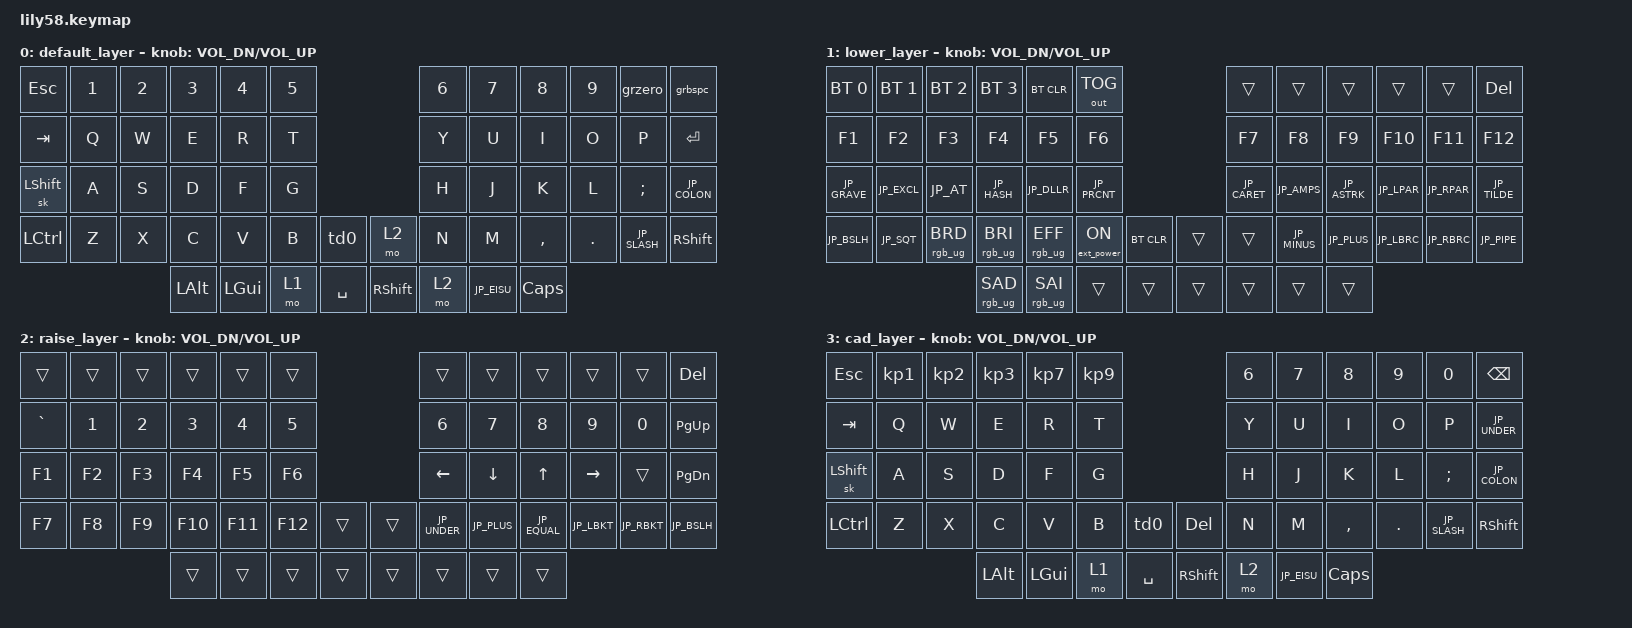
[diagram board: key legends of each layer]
/*
 * Copyright (c) 2020 The ZMK Contributors
 *
 * SPDX-License-Identifier: MIT
 */

#include <dt-bindings/led/led.h>

#include <behaviors.dtsi>
#include <dt-bindings/zmk/bt.h>
#include <dt-bindings/zmk/ext_power.h>
#include <dt-bindings/zmk/keys.h>
#include <dt-bindings/zmk/outputs.h>
#include <dt-bindings/zmk/rgb.h>

#include <dt-bindings/zmk/mouse.h>

#define DEFAULT 0
#define SYMBOL  1
#define NUM     2
#define MOUSE   3
#define NAV     4

#ifdef HAS_MOUSE_KEYS
  #include <dt-bindings/zmk/mouse.h>
  #include <behaviors/mouse_keys.dtsi>
#endif  // HAS_MOUSE_KEYS

#ifdef HAS_MOUSE_TP
  // We store the trackpoint settings in a separate file
  // to make organization a little easier.
  #include "include/mouse_tp.dtsi"
#endif  // HAS_MOUSE_TP

#ifdef HAS_MOUSE_KEYS
  #define U_THUMB_INNER &mo MOUSE_KEYS
#else
  #define U_THUMB_INNER &none
#endif  // HAS_MOUSE_KEYS

#ifdef HAS_MOUSE_TP
  #define U_TOG_TP_SET &tog MOUSE_TP_SET
#else
  #define U_TOG_TP_SET &none
#endif  // HAS_MOUSE_TP

#define HOST_OS 2
#include "keycode_japanese.h"

&led_strip { chain-length = <35>; };

/ {
    behaviors {
        td0: tap_dance_0 {
            compatible = "zmk,behavior-tap-dance";
            #binding-cells = <0>;
            tapping-term-ms = <200>;
            bindings = <&to 0>, <&to 3>;
        };

        grzero: grave_zero {
            compatible = "zmk,behavior-mod-morph";
            #binding-cells = <0>;
            bindings = <&kp N0>, <&kp JP_MINUS>;
            mods = <(MOD_LSFT|MOD_RSFT)>;
        };

        grbspc: grave_backspace {
            compatible = "zmk,behavior-mod-morph";
            #binding-cells = <0>;
            bindings = <&kp BSPC>, <&kp DEL>;
            mods = <(MOD_LSFT|MOD_RSFT)>;
        };
    };
    
    keymap {
        compatible = "zmk,keymap";

        default_layer {
            // ------------------------------------------------------------------------------------------------------------
            // |  ESC  |  1  |  2  |  3   |  4     |  5    |                   |  6   |  7     |  8    |  9   |   0   |   `   |
            // |  TAB  |  Q  |  W  |  E   |  R     |  T    |                   |  Y   |  U     |  I    |  O   |   P   |   -   |
            // |  CTRL |  A  |  S  |  D   |  F     |  G    |                   |  H   |  J     |  K    |  L   |   ;   |   :   |
            // | SHIFT |  Z  |  X  |  C   |  V     |  B    | "CAPS" |  |  DEL  |  N   |  M     |  ,    |  .   |   /   | SHIFT |
            //                     | ALT  |  GUI   | LOWER | SPACE  |  | ENTER | BSPC |  RAISE | CAPS  |

            bindings = <
&kp ESC    &kp N1  &kp N2  &kp N3    &kp N4    &kp N5                         &kp N6  &kp N7    &kp N8     &kp N9   &grzero       &grbspc
&kp TAB    &kp Q   &kp W   &kp E     &kp R     &kp T                          &kp Y   &kp U     &kp I      &kp O    &kp P         &kp RET
&sk LSHFT  &kp A   &kp S   &kp D     &kp F     &kp G                          &kp H   &kp J     &kp K      &kp L    &kp SEMI      &kp JP_COLON
&kp LCTRL  &kp Z   &kp X   &kp C     &kp V     &kp B   &td0         &mo 2     &kp N   &kp M     &kp COMMA  &kp DOT  &kp JP_SLASH  &kp RSHFT
                           &kp LALT  &kp LGUI  &mo 1   &kp SPACE    &kp RSHFT &mo 2   &kp JP_EISU  &kp CAPS
            >;

            // sensor-bindings = <&inc_dec_kp C_VOL_UP C_VOL_DN &inc_dec_kp C_VOL_UP C_VOL_DN>;

            sensor-bindings = <&inc_dec_kp C_VOL_DN C_VOL_UP>;
        };
        

        lower_layer {
            // ------------------------------------------------------------------------------------------------------------
            // | BTCLR | BT1 | BT2 |  BT3 |  BT4 |  TOG |                   |      |       |       |      |       |       |
            // |  F1   |  F2 |  F3 |  F4  |  F5  |  F6  |                   |  F7  |  F8   |  F9   |  F10 |  F11  |  F12  |
            // |   `   |  !  |  @  |  #   |  $   |  %   |                   |  ^   |  &    |  *    |  (   |   )   |   ~   |
            // |   \   |  '  |     |      |      |      |        |  |       |      |  -    |  +    |  {   |   }   |  "|"  |
            //                     |      |      |      |        |  |       |      |       |       |

            bindings = <
&bt BT_SEL 0  &bt BT_SEL 1     &bt BT_SEL 2     &bt BT_SEL 3     &bt BT_CLR     &out OUT_TOG                              &trans       &trans       &trans        &trans       &trans       &kp DEL
&kp F1        &kp F2           &kp F3           &kp F4           &kp F5         &kp F6                                    &kp F7       &kp F8       &kp F9        &kp F10      &kp F11      &kp F12
&kp JP_GRAVE  &kp JP_EXCL      &kp JP_AT        &kp JP_HASH      &kp JP_DLLR    &kp JP_PRCNT                                &kp JP_CARET &kp JP_AMPS  &kp JP_ASTRK  &kp JP_LPAR  &kp JP_RPAR  &kp JP_TILDE
&kp JP_BSLH   &kp JP_SQT       &rgb_ug RGB_BRD  &rgb_ug RGB_BRI  &rgb_ug RGB_EFF  &ext_power EP_ON  &bt BT_CLR      &trans  &trans       &kp JP_MINUS &kp JP_PLUS   &kp JP_LBRC  &kp JP_RBRC  &kp JP_PIPE
                                                &rgb_ug RGB_SAD  &rgb_ug RGB_SAI  &trans            &trans          &trans  &trans  &trans       &trans
            >;
 
            sensor-bindings = <&inc_dec_kp C_VOL_DN C_VOL_UP>;
        };

        raise_layer {
            // ------------------------------------------------------------------------------------------------------------
            // |       |     |     |      |      |      |                   |      |       |       |      |       |       |
            // |   `   |  1  |  2  |  3   |  4   |  5   |                   |  6   |   7   |   8   |  9   |   0   | PG_UP |
            // |   F1  |  F2 |  F3 |  F4  |  F5  |  F6  |                   |  <-  |   v   |   ^   |  ->  |       | PG_DN |
            // |   F7  |  F8 |  F9 |  F10 |  F11 |  F12 |        |  |       |  -   |   +   |   =   |  [   |   ]   |   \   |
            //                     |      |      |      |        |  |       |      |       |       |

            bindings = <
&trans     &trans  &trans  &trans   &trans   &trans                     &trans        &trans       &trans        &trans        &trans       &kp DEL
&kp GRAVE  &kp N1  &kp N2  &kp N3   &kp N4   &kp N5                     &kp N6        &kp N7       &kp N8        &kp N9        &kp N0       &kp PG_UP
&kp F1     &kp F2  &kp F3  &kp F4   &kp F5   &kp F6                     &kp LEFT      &kp DOWN     &kp UP        &kp RIGHT     &trans       &kp PG_DN
&kp F7     &kp F8  &kp F9  &kp F10  &kp F11  &kp F12  &trans    &trans  &kp JP_UNDER  &kp JP_PLUS  &kp JP_EQUAL  &kp JP_LBKT   &kp JP_RBKT  &kp JP_BSLH
                           &trans   &trans   &trans   &trans    &trans  &trans        &trans       &trans
            >;

            sensor-bindings = <&inc_dec_kp C_VOL_DN C_VOL_UP>;
        };
        cad_layer {
            // ------------------------------------------------------------------------------------------------------------
            // |  ESC  |  1  |  2  |  3   |  4     |  5    |                   |  6   |  7     |  8    |  9   |   0   |   `   |
            // |  TAB  |  Q  |  W  |  E   |  R     |  T    |                   |  Y   |  U     |  I    |  O   |   P   |   -   |
            // |  CTRL |  A  |  S  |  D   |  F     |  G    |                   |  H   |  J     |  K    |  L   |   ;   |   :   |
            // | SHIFT |  Z  |  X  |  C   |  V     |  B    | "CAPS" |  |  DEL  |  N   |  M     |  ,    |  .   |   /   | SHIFT |
            //                     | ALT  |  GUI   | LOWER | SPACE  |  | ENTER | BSPC |  RAISE | CAPS  |

            bindings = <
&kp ESC    &kp KP_N1 &kp KP_N2 &kp KP_N3 &kp KP_N7 &kp KP_N9                     &kp N6  &kp N7    &kp N8     &kp N9   &kp N0        &kp BSPC
&kp TAB    &kp Q     &kp W     &kp E     &kp R     &kp T                         &kp Y   &kp U     &kp I      &kp O    &kp P         &kp JP_UNDER
&sk LSHFT  &kp A     &kp S     &kp D     &kp F     &kp G                         &kp H   &kp J     &kp K      &kp L    &kp SEMI      &kp JP_COLON
&kp LCTRL  &kp Z     &kp X     &kp C     &kp V     &kp B   &td0       &kp DEL   &kp N   &kp M     &kp COMMA  &kp DOT  &kp JP_SLASH  &kp RSHFT
                               &kp LALT  &kp LGUI  &mo 1   &kp SPACE   &kp RSHFT   &mo 2   &kp JP_EISU  &kp CAPS
            >;

            sensor-bindings = <&inc_dec_kp C_VOL_DN C_VOL_UP>;
        };
    };
};
